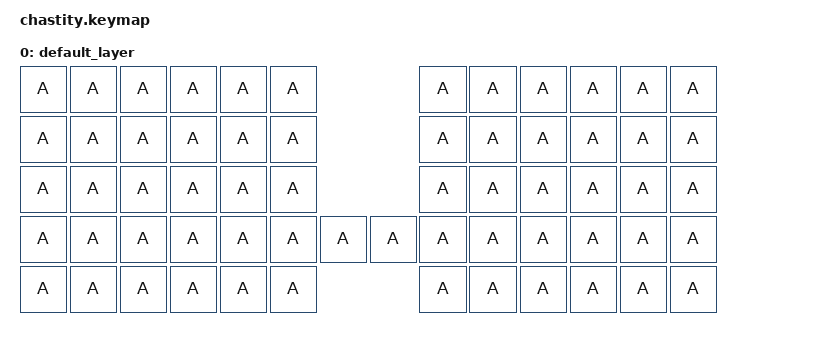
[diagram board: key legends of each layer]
#include <behaviors.dtsi>
#include <dt-bindings/zmk/keys.h>

/ {
    keymap {
        compatible = "zmk,keymap";
        default_layer {
            bindings = <
                &kp A  &kp A  &kp A  &kp A  &kp A  &kp A                &kp A  &kp A  &kp A  &kp A  &kp A  &kp A
                &kp A  &kp A  &kp A  &kp A  &kp A  &kp A                &kp A  &kp A  &kp A  &kp A  &kp A  &kp A
                &kp A  &kp A  &kp A  &kp A  &kp A  &kp A                &kp A  &kp A  &kp A  &kp A  &kp A  &kp A
                &kp A  &kp A  &kp A  &kp A  &kp A  &kp A  &kp A  &kp A  &kp A  &kp A  &kp A  &kp A  &kp A  &kp A
                &kp A  &kp A  &kp A  &kp A  &kp A  &kp A                &kp A  &kp A  &kp A  &kp A  &kp A  &kp A
            >;
        };
    };
};
